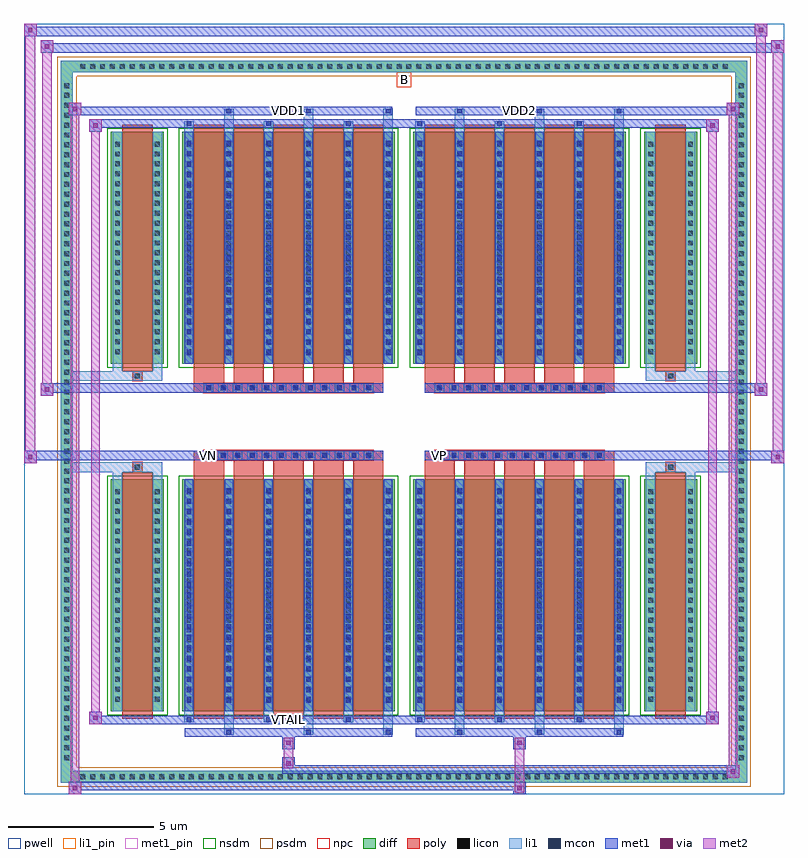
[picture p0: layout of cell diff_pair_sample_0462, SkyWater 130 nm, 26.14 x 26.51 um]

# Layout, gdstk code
import gdstk
lib = gdstk.Library(unit=1e-6, precision=5e-09)
def R(c, l, rs):  # rectangles x0, y0, x1, y1
    for r in rs: c.add(gdstk.rectangle(r[:2], r[2:], *l))
def A(c, l, x, y, w, h, nx, ny, dx, dy):  # array of equal rectangles
    R(c, l, [(x+i*dx, y+j*dy, x+i*dx+w, y+j*dy+h) for i in range(nx) for j in range(ny)])
def P(c, l, *ps):  # polygons
    for p in ps: c.add(gdstk.Polygon(p, *l))
pwell = (64, 44)
diff = (65, 20)
poly = (66, 20)
licon = (66, 44)
li1_pin = (67, 16)
li1 = (67, 20)
mcon = (67, 44)
met1_pin = (68, 16)
met1 = (68, 20)
via = (68, 44)
met2 = (69, 20)
nsdm = (93, 44)
psdm = (94, 20)
npc = (95, 20)

diff_pair_sample_0462 = lib.new_cell('diff_pair_sample_0462')
R(diff_pair_sample_0462, pwell, [(-13.07,-12.82,13.07,13.69), (-10.39,-11.01,-0.01,-0.795), (0.01,-11.01,10.39,-0.795), (-10.39,0.795,-0.01,11.01), (0.01,0.795,10.39,11.01)])
A(diff_pair_sample_0462, diff, -11.255, -12.42, 0.41, 0.41, 66, 2, 0.34, 24.43)
A(diff_pair_sample_0462, diff, -11.8, -11.765, 0.41, 0.41, 1, 69, 0, 0.34)
A(diff_pair_sample_0462, diff, 11.39, -11.765, 0.41, 0.41, 1, 69, 0, 0.34)
R(diff_pair_sample_0462, diff, [(-11.255,-12.42,11.255,-12.01), (-11.8,-11.765,-11.39,11.765), (11.39,-11.765,11.8,11.765), (-10.08,-9.965,-8.26,-1.985), (-7.62,-9.965,-0.32,-1.985), (0.32,-9.965,7.62,-1.985), (8.26,-9.965,10.08,-1.985), (-10.08,1.985,-8.26,9.965), (-7.62,1.985,-0.32,9.965), (0.32,1.985,7.62,9.965), (8.26,1.985,10.08,9.965), (-11.255,12.01,11.255,12.42)])
P(diff_pair_sample_0462, diff, [(11.8,12.42),(-11.8,12.42),(-11.8,-12.01),(-11.39,-12.01),(-11.39,12.01),(11.39,12.01),(11.39,-12.01),(-11.39,-12.01),(-11.8,-12.01),(-11.8,-12.42),(11.8,-12.42)])
A(diff_pair_sample_0462, poly, -7.23, -10.215, 1.04, 8.48, 5, 2, 1.37, 11.95)
A(diff_pair_sample_0462, poly, 0.71, -10.215, 1.04, 8.48, 5, 2, 1.37, 11.95)
A(diff_pair_sample_0462, poly, -7.23, -1.735, 1.04, 0.41, 5, 2, 1.37, 3.06)
A(diff_pair_sample_0462, poly, 0.71, -1.735, 1.04, 0.41, 5, 2, 1.37, 3.06)
A(diff_pair_sample_0462, poly, -6.885, -1.325, 0.33, 0.33, 12, 2, 0.5, 2.32)
A(diff_pair_sample_0462, poly, 1.055, -1.325, 0.33, 0.33, 12, 2, 0.5, 2.32)
R(diff_pair_sample_0462, poly, [(-9.69,-10.215,-8.65,-1.735), (8.65,-10.215,9.69,-1.735), (-9.335,-1.735,-9.005,-1.405), (-9.335,-1.735,-9.005,-1.405), (9.005,-1.735,9.335,-1.405), (9.005,-1.735,9.335,-1.405), (-7.23,-1.325,-0.71,-0.995), (0.71,-1.325,7.23,-0.995), (-7.23,0.995,-0.71,1.325), (0.71,0.995,7.23,1.325), (-9.335,1.405,-9.005,1.735), (-9.335,1.405,-9.005,1.735), (9.005,1.405,9.335,1.735), (9.005,1.405,9.335,1.735), (-9.69,1.735,-8.65,10.215), (8.65,1.735,9.69,10.215)])
A(diff_pair_sample_0462, licon, -11.135, -12.3, 0.17, 0.17, 66, 2, 0.34, 24.43)
A(diff_pair_sample_0462, licon, -11.68, -11.645, 0.17, 0.17, 1, 69, 0, 0.34)
A(diff_pair_sample_0462, licon, 11.51, -11.645, 0.17, 0.17, 1, 69, 0, 0.34)
A(diff_pair_sample_0462, licon, -9.94, -9.63, 0.17, 0.17, 1, 22, 0, 0.34)
A(diff_pair_sample_0462, licon, -8.57, -9.63, 0.17, 0.17, 1, 22, 0, 0.34)
A(diff_pair_sample_0462, licon, -7.48, -9.63, 0.17, 0.17, 6, 22, 1.37, 0.34)
A(diff_pair_sample_0462, licon, 0.46, -9.63, 0.17, 0.17, 6, 22, 1.37, 0.34)
A(diff_pair_sample_0462, licon, 8.4, -9.63, 0.17, 0.17, 1, 22, 0, 0.34)
A(diff_pair_sample_0462, licon, 9.77, -9.63, 0.17, 0.17, 1, 22, 0, 0.34)
A(diff_pair_sample_0462, licon, -6.805, -1.245, 0.17, 0.17, 12, 2, 0.5, 2.32)
A(diff_pair_sample_0462, licon, 1.135, -1.245, 0.17, 0.17, 12, 2, 0.5, 2.32)
A(diff_pair_sample_0462, licon, -9.94, 2.32, 0.17, 0.17, 1, 22, 0, 0.34)
A(diff_pair_sample_0462, licon, -8.57, 2.32, 0.17, 0.17, 1, 22, 0, 0.34)
A(diff_pair_sample_0462, licon, -7.48, 2.32, 0.17, 0.17, 6, 22, 1.37, 0.34)
A(diff_pair_sample_0462, licon, 0.46, 2.32, 0.17, 0.17, 6, 22, 1.37, 0.34)
A(diff_pair_sample_0462, licon, 8.4, 2.32, 0.17, 0.17, 1, 22, 0, 0.34)
A(diff_pair_sample_0462, licon, 9.77, 2.32, 0.17, 0.17, 1, 22, 0, 0.34)
R(diff_pair_sample_0462, licon, [(-9.255,-1.655,-9.085,-1.485), (9.085,-1.655,9.255,-1.485), (-9.255,1.485,-9.085,1.655), (9.085,1.485,9.255,1.655)])
R(diff_pair_sample_0462, li1_pin, [(-0.25,11.51,0.25,12.01)])
A(diff_pair_sample_0462, li1, -11.215, -12.38, 0.33, 0.33, 66, 2, 0.34, 24.43)
A(diff_pair_sample_0462, li1, -11.76, -11.725, 0.33, 0.33, 1, 69, 0, 0.34)
A(diff_pair_sample_0462, li1, 11.43, -11.725, 0.33, 0.33, 1, 69, 0, 0.34)
A(diff_pair_sample_0462, li1, -6.19, -10.77, 0.33, 0.805, 3, 2, 2.74, 20.735)
A(diff_pair_sample_0462, li1, -6.11, -10.77, 0.17, 0.17, 3, 2, 2.74, 21.37)
A(diff_pair_sample_0462, li1, 1.75, -10.77, 0.33, 0.805, 3, 2, 2.74, 20.735)
A(diff_pair_sample_0462, li1, 1.83, -10.77, 0.17, 0.17, 3, 2, 2.74, 21.37)
A(diff_pair_sample_0462, li1, -7.56, -10.34, 0.33, 0.375, 3, 2, 2.74, 20.305)
A(diff_pair_sample_0462, li1, -7.48, -10.34, 0.17, 0.17, 3, 2, 2.74, 20.51)
A(diff_pair_sample_0462, li1, 0.38, -10.34, 0.33, 0.375, 3, 2, 2.74, 20.305)
A(diff_pair_sample_0462, li1, 0.46, -10.34, 0.17, 0.17, 3, 2, 2.74, 20.51)
A(diff_pair_sample_0462, li1, -7.56, -9.965, 0.33, 7.98, 6, 2, 1.37, 11.95)
A(diff_pair_sample_0462, li1, 0.38, -9.965, 0.33, 7.98, 6, 2, 1.37, 11.95)
A(diff_pair_sample_0462, li1, -10.02, -9.71, 0.33, 0.33, 1, 22, 0, 0.34)
A(diff_pair_sample_0462, li1, -8.65, -9.71, 0.33, 0.33, 1, 22, 0, 0.34)
A(diff_pair_sample_0462, li1, -7.56, -9.71, 0.33, 0.33, 6, 22, 1.37, 0.34)
A(diff_pair_sample_0462, li1, 0.38, -9.71, 0.33, 0.33, 6, 22, 1.37, 0.34)
A(diff_pair_sample_0462, li1, 8.32, -9.71, 0.33, 0.33, 1, 22, 0, 0.34)
A(diff_pair_sample_0462, li1, 9.69, -9.71, 0.33, 0.33, 1, 22, 0, 0.34)
A(diff_pair_sample_0462, li1, -7.48, -9.66, 0.17, 0.17, 6, 21, 1.37, 0.36)
A(diff_pair_sample_0462, li1, -7.48, -9.66, 0.17, 7.37, 6, 2, 1.37, 11.95)
A(diff_pair_sample_0462, li1, 0.46, -9.66, 0.17, 0.17, 6, 21, 1.37, 0.36)
A(diff_pair_sample_0462, li1, 0.46, -9.66, 0.17, 7.37, 6, 2, 1.37, 11.95)
A(diff_pair_sample_0462, li1, -6.885, -1.325, 0.33, 0.33, 12, 2, 0.5, 2.32)
A(diff_pair_sample_0462, li1, 1.055, -1.325, 0.33, 0.33, 12, 2, 0.5, 2.32)
A(diff_pair_sample_0462, li1, -10.02, 2.24, 0.33, 0.33, 1, 22, 0, 0.34)
A(diff_pair_sample_0462, li1, -8.65, 2.24, 0.33, 0.33, 1, 22, 0, 0.34)
A(diff_pair_sample_0462, li1, -7.56, 2.24, 0.33, 0.33, 6, 22, 1.37, 0.34)
A(diff_pair_sample_0462, li1, 0.38, 2.24, 0.33, 0.33, 6, 22, 1.37, 0.34)
A(diff_pair_sample_0462, li1, 8.32, 2.24, 0.33, 0.33, 1, 22, 0, 0.34)
A(diff_pair_sample_0462, li1, 9.69, 2.24, 0.33, 0.33, 1, 22, 0, 0.34)
A(diff_pair_sample_0462, li1, -7.48, 2.29, 0.17, 0.17, 6, 21, 1.37, 0.36)
A(diff_pair_sample_0462, li1, 0.46, 2.29, 0.17, 0.17, 6, 21, 1.37, 0.36)
R(diff_pair_sample_0462, li1, [(-11.8,-12.42,-11.39,-12.01), (-11.8,-12.42,-11.39,-12.01), (-11.39,-12.42,11.39,-12.01), (11.39,-12.42,11.8,-12.01), (11.39,-12.42,11.8,-12.01), (-11.8,-12.01,-11.39,12.01), (11.39,-12.01,11.8,12.01), (-10.02,-9.965,-9.69,-1.985), (-8.65,-9.965,-8.32,-1.985), (8.32,-9.965,8.65,-1.985), (9.69,-9.965,10.02,-1.985), (-10.02,-1.985,-9.69,-1.405), (-8.65,-1.985,-8.32,-1.405), (8.32,-1.985,8.65,-1.405), (9.69,-1.985,10.02,-1.405), (-11.8,-1.735,-9.335,-1.405), (-10.02,-1.735,-9.335,-1.405), (-9.335,-1.735,-9.005,-1.405), (-9.005,-1.735,-8.32,-1.405), (8.32,-1.735,9.005,-1.405), (9.005,-1.735,9.335,-1.405), (9.005,-1.735,11.8,-1.405), (9.335,-1.735,10.02,-1.405), (-11.8,1.405,-9.335,1.735), (-10.02,1.405,-9.335,1.735), (-10.02,1.405,-9.69,1.985), (-9.335,1.405,-9.005,1.735), (-9.005,1.405,-8.32,1.735), (-8.65,1.405,-8.32,1.985), (8.32,1.405,9.005,1.735), (8.32,1.405,8.65,1.985), (9.005,1.405,9.335,1.735), (9.005,1.405,11.8,1.735), (9.335,1.405,10.02,1.735), (9.69,1.405,10.02,1.985), (-10.02,1.985,-9.69,9.965), (-8.65,1.985,-8.32,9.965), (8.32,1.985,8.65,9.965), (9.69,1.985,10.02,9.965), (-11.8,12.01,-11.39,12.42), (-11.8,12.01,-11.39,12.42), (-11.39,12.01,11.39,12.42), (11.39,12.01,11.8,12.42), (11.39,12.01,11.8,12.42)])
A(diff_pair_sample_0462, mcon, -6.11, -10.77, 0.17, 0.17, 3, 2, 2.74, 21.37)
A(diff_pair_sample_0462, mcon, 1.83, -10.77, 0.17, 0.17, 3, 2, 2.74, 21.37)
A(diff_pair_sample_0462, mcon, -7.48, -10.34, 0.17, 0.17, 3, 2, 2.74, 20.51)
A(diff_pair_sample_0462, mcon, 0.46, -10.34, 0.17, 0.17, 3, 2, 2.74, 20.51)
A(diff_pair_sample_0462, mcon, -7.48, -9.66, 0.17, 0.17, 6, 21, 1.37, 0.36)
A(diff_pair_sample_0462, mcon, 0.46, -9.66, 0.17, 0.17, 6, 21, 1.37, 0.36)
A(diff_pair_sample_0462, mcon, -6.805, -1.245, 0.17, 0.17, 12, 2, 0.5, 2.32)
A(diff_pair_sample_0462, mcon, 1.135, -1.245, 0.17, 0.17, 12, 2, 0.5, 2.32)
A(diff_pair_sample_0462, mcon, -7.48, 2.29, 0.17, 0.17, 6, 21, 1.37, 0.36)
A(diff_pair_sample_0462, mcon, 0.46, 2.29, 0.17, 0.17, 6, 21, 1.37, 0.36)
R(diff_pair_sample_0462, met1_pin, [(-4.105,-10.38,-3.835,-10.11), (-6.855,-1.285,-6.585,-1.015), (1.085,-1.285,1.355,-1.015), (-4.105,10.56,-3.835,10.83), (3.835,10.56,4.105,10.83)])
A(diff_pair_sample_0462, met1, -6.17, -10.83, 0.29, 0.29, 3, 2, 2.74, 21.37)
A(diff_pair_sample_0462, met1, 1.77, -10.83, 0.29, 0.29, 3, 2, 2.74, 21.37)
A(diff_pair_sample_0462, met1, -7.54, -10.4, 0.29, 0.29, 3, 2, 2.74, 20.51)
A(diff_pair_sample_0462, met1, 0.4, -10.4, 0.29, 0.29, 3, 2, 2.74, 20.51)
A(diff_pair_sample_0462, met1, -7.54, -9.965, 0.29, 7.98, 6, 2, 1.37, 11.95)
A(diff_pair_sample_0462, met1, 0.4, -9.965, 0.29, 7.98, 6, 2, 1.37, 11.95)
A(diff_pair_sample_0462, met1, -7.54, -9.72, 0.29, 0.29, 6, 21, 1.37, 0.36)
A(diff_pair_sample_0462, met1, 0.4, -9.72, 0.29, 0.29, 6, 21, 1.37, 0.36)
A(diff_pair_sample_0462, met1, -6.865, -1.305, 0.29, 0.29, 12, 2, 0.5, 2.32)
A(diff_pair_sample_0462, met1, 1.075, -1.305, 0.29, 0.29, 12, 2, 0.5, 2.32)
A(diff_pair_sample_0462, met1, -7.54, 2.23, 0.29, 0.29, 6, 21, 1.37, 0.36)
A(diff_pair_sample_0462, met1, 0.4, 2.23, 0.29, 0.29, 6, 21, 1.37, 0.36)
R(diff_pair_sample_0462, met1, [(-11.53,-12.82,-11.1,-12.39), (3.755,-12.82,4.185,-12.39), (-11.53,-12.68,4.185,-12.39), (11.1,-12.25,11.53,-11.82), (-4.185,-12.11,11.53,-11.82), (-4.185,-11.97,-3.755,-11.54), (-4.185,-11.26,-3.755,-10.83), (3.755,-11.26,4.185,-10.83), (-7.54,-10.83,-0.4,-10.54), (0.4,-10.83,7.54,-10.54), (-10.82,-10.4,-10.39,-9.97), (-10.82,-10.4,-7.54,-10.11), (-7.54,-10.4,-0.4,-10.11), (-0.4,-10.4,0.4,-10.11), (0.4,-10.4,7.54,-10.11), (7.54,-10.4,10.82,-10.11), (10.39,-10.4,10.82,-9.97), (-13.07,-1.425,-12.64,-0.995), (12.64,-1.425,13.07,-0.995), (-13.07,-1.325,-0.71,-0.995), (-7.23,-1.325,-0.71,-0.995), (0.71,-1.325,7.23,-0.995), (0.71,-1.325,13.07,-0.995), (-12.5,0.895,-12.07,1.325), (12.07,0.895,12.5,1.325), (-12.5,0.995,-7.23,1.325), (-7.23,0.995,-0.71,1.325), (0.71,0.995,7.23,1.325), (7.23,0.995,12.5,1.325), (-10.82,9.97,-10.39,10.4), (10.39,9.97,10.82,10.4), (-10.82,10.11,-7.54,10.4), (-7.54,10.11,-0.4,10.4), (-0.4,10.11,0.4,10.4), (0.4,10.11,7.54,10.4), (7.54,10.11,10.82,10.4), (-11.53,10.54,-11.1,10.97), (-11.53,10.54,-7.54,10.83), (-7.54,10.54,-0.4,10.83), (0.4,10.54,7.54,10.83), (7.54,10.54,11.53,10.83), (11.1,10.54,11.53,10.97), (-12.5,12.69,-12.07,13.12), (-12.5,12.69,-10.39,13.02), (-10.39,12.69,10.39,13.02), (10.39,12.69,13.07,13.02), (12.64,12.69,13.07,13.12), (-13.07,13.26,-12.64,13.69), (-13.07,13.26,-10.39,13.59), (-10.39,13.26,10.39,13.59), (10.39,13.26,12.5,13.59), (12.07,13.26,12.5,13.69)])
R(diff_pair_sample_0462, via, [(-11.39,-12.68,-11.24,-12.53), (3.895,-12.68,4.045,-12.53), (11.24,-12.11,11.39,-11.96), (-4.045,-11.83,-3.895,-11.68), (-4.045,-11.12,-3.895,-10.97), (3.895,-11.12,4.045,-10.97), (-10.68,-10.26,-10.53,-10.11), (10.53,-10.26,10.68,-10.11), (-12.93,-1.285,-12.78,-1.135), (12.78,-1.285,12.93,-1.135), (-12.36,1.035,-12.21,1.185), (12.21,1.035,12.36,1.185), (-10.68,10.11,-10.53,10.26), (10.53,10.11,10.68,10.26), (-11.39,10.68,-11.24,10.83), (11.24,10.68,11.39,10.83), (-12.36,12.83,-12.21,12.98), (12.78,12.83,12.93,12.98), (-12.93,13.4,-12.78,13.55), (12.21,13.4,12.36,13.55)])
R(diff_pair_sample_0462, met2, [(-11.53,-12.82,-11.1,-12.39), (-11.46,-12.82,-11.17,10.97), (-11.17,-12.82,-11.1,-12.39), (-11.48,-12.77,-11.15,-12.44), (3.805,-12.77,4.135,-12.44), (3.805,-12.44,4.135,-11.21), (11.1,-12.25,11.53,-11.82), (11.17,-12.25,11.46,10.97), (11.46,-12.25,11.53,-11.82), (11.15,-12.2,11.48,-11.87), (-4.135,-11.92,-3.805,-11.59), (-4.135,-11.59,-3.805,-11.21), (-4.135,-11.21,-3.805,-10.88), (3.805,-11.21,4.135,-10.88), (-10.82,-10.4,-10.39,-9.97), (-10.75,-10.4,-10.46,10.4), (-10.46,-10.4,-10.39,-9.97), (10.39,-10.4,10.82,-9.97), (10.46,-10.4,10.75,10.4), (10.75,-10.4,10.82,-9.97), (-10.77,-10.35,-10.44,-10.02), (10.44,-10.35,10.77,-10.02), (-13.07,-1.425,-12.64,-0.995), (-13.02,-1.425,-12.69,13.69), (-12.69,-1.425,-12.64,-0.995), (12.64,-1.425,13.07,-0.995), (12.69,-1.425,13.02,13.12), (13.02,-1.425,13.07,-0.995), (-13.02,-1.375,-12.69,-1.045), (12.69,-1.375,13.02,-1.045), (-12.5,0.895,-12.07,1.325), (-12.45,0.895,-12.12,13.12), (-12.12,0.895,-12.07,1.325), (12.07,0.895,12.5,1.325), (12.12,0.895,12.45,13.69), (12.45,0.895,12.5,1.325), (-12.45,0.945,-12.12,1.275), (12.12,0.945,12.45,1.275), (-10.82,9.97,-10.39,10.4), (-10.46,9.97,-10.39,10.4), (10.39,9.97,10.82,10.4), (10.75,9.97,10.82,10.4), (-10.77,10.02,-10.44,10.35), (10.44,10.02,10.77,10.35), (-11.53,10.54,-11.1,10.97), (-11.17,10.54,-11.1,10.97), (11.1,10.54,11.53,10.97), (11.46,10.54,11.53,10.97), (-11.48,10.59,-11.15,10.92), (11.15,10.59,11.48,10.92), (-12.5,12.69,-12.07,13.12), (-12.12,12.69,-12.07,13.12), (12.64,12.69,13.07,13.12), (13.02,12.69,13.07,13.12), (-12.45,12.74,-12.12,13.07), (12.69,12.74,13.02,13.07), (-13.07,13.26,-12.64,13.69), (-12.69,13.26,-12.64,13.69), (12.07,13.26,12.5,13.69), (12.45,13.26,12.5,13.69), (-13.02,13.31,-12.69,13.64), (12.12,13.31,12.45,13.64)])
R(diff_pair_sample_0462, nsdm, [(-10.21,-10.095,-8.13,-1.855), (-7.75,-10.095,-0.19,-1.855), (0.19,-10.095,7.75,-1.855), (8.13,-10.095,10.21,-1.855), (-10.21,1.855,-8.13,10.095), (-7.75,1.855,-0.19,10.095), (0.19,1.855,7.75,10.095), (8.13,1.855,10.21,10.095)])
P(diff_pair_sample_0462, psdm, [(11.93,12.55),(-11.93,12.55),(-11.93,-11.88),(-11.26,-11.88),(-11.26,11.88),(11.26,11.88),(11.26,-11.88),(-11.26,-11.88),(-11.93,-11.88),(-11.93,-12.55),(11.93,-12.55)])
A(diff_pair_sample_0462, npc, -6.905, -1.345, 0.37, 0.37, 12, 2, 0.5, 2.32)
A(diff_pair_sample_0462, npc, 1.035, -1.345, 0.37, 0.37, 12, 2, 0.5, 2.32)
R(diff_pair_sample_0462, npc, [(-9.355,-1.755,-8.985,-1.385), (8.985,-1.755,9.355,-1.385), (-6.905,-1.345,-6.035,-0.975), (-6.905,-1.345,-6.035,-0.975), (-6.405,-1.345,-5.535,-0.975), (-6.405,-1.345,-5.535,-0.975), (-5.905,-1.345,-5.035,-0.975), (-5.905,-1.345,-5.035,-0.975), (-5.405,-1.345,-4.535,-0.975), (-5.405,-1.345,-4.535,-0.975), (-4.905,-1.345,-4.035,-0.975), (-4.905,-1.345,-4.035,-0.975), (-4.405,-1.345,-3.535,-0.975), (-4.405,-1.345,-3.535,-0.975), (-3.905,-1.345,-3.035,-0.975), (-3.905,-1.345,-3.035,-0.975), (-3.405,-1.345,-2.535,-0.975), (-3.405,-1.345,-2.535,-0.975), (-2.905,-1.345,-2.035,-0.975), (-2.905,-1.345,-2.035,-0.975), (-2.405,-1.345,-1.535,-0.975), (-2.405,-1.345,-1.535,-0.975), (-1.905,-1.345,-1.035,-0.975), (-1.905,-1.345,-1.035,-0.975), (1.035,-1.345,1.905,-0.975), (1.035,-1.345,1.905,-0.975), (1.535,-1.345,2.405,-0.975), (1.535,-1.345,2.405,-0.975), (2.035,-1.345,2.905,-0.975), (2.035,-1.345,2.905,-0.975), (2.535,-1.345,3.405,-0.975), (2.535,-1.345,3.405,-0.975), (3.035,-1.345,3.905,-0.975), (3.035,-1.345,3.905,-0.975), (3.535,-1.345,4.405,-0.975), (3.535,-1.345,4.405,-0.975), (4.035,-1.345,4.905,-0.975), (4.035,-1.345,4.905,-0.975), (4.535,-1.345,5.405,-0.975), (4.535,-1.345,5.405,-0.975), (5.035,-1.345,5.905,-0.975), (5.035,-1.345,5.905,-0.975), (5.535,-1.345,6.405,-0.975), (5.535,-1.345,6.405,-0.975), (6.035,-1.345,6.905,-0.975), (6.035,-1.345,6.905,-0.975), (-6.905,0.975,-6.035,1.345), (-6.905,0.975,-6.035,1.345), (-6.405,0.975,-5.535,1.345), (-6.405,0.975,-5.535,1.345), (-5.905,0.975,-5.035,1.345), (-5.905,0.975,-5.035,1.345), (-5.405,0.975,-4.535,1.345), (-5.405,0.975,-4.535,1.345), (-4.905,0.975,-4.035,1.345), (-4.905,0.975,-4.035,1.345), (-4.405,0.975,-3.535,1.345), (-4.405,0.975,-3.535,1.345), (-3.905,0.975,-3.035,1.345), (-3.905,0.975,-3.035,1.345), (-3.405,0.975,-2.535,1.345), (-3.405,0.975,-2.535,1.345), (-2.905,0.975,-2.035,1.345), (-2.905,0.975,-2.035,1.345), (-2.405,0.975,-1.535,1.345), (-2.405,0.975,-1.535,1.345), (-1.905,0.975,-1.035,1.345), (-1.905,0.975,-1.035,1.345), (1.035,0.975,1.905,1.345), (1.035,0.975,1.905,1.345), (1.535,0.975,2.405,1.345), (1.535,0.975,2.405,1.345), (2.035,0.975,2.905,1.345), (2.035,0.975,2.905,1.345), (2.535,0.975,3.405,1.345), (2.535,0.975,3.405,1.345), (3.035,0.975,3.905,1.345), (3.035,0.975,3.905,1.345), (3.535,0.975,4.405,1.345), (3.535,0.975,4.405,1.345), (4.035,0.975,4.905,1.345), (4.035,0.975,4.905,1.345), (4.535,0.975,5.405,1.345), (4.535,0.975,5.405,1.345), (5.035,0.975,5.905,1.345), (5.035,0.975,5.905,1.345), (5.535,0.975,6.405,1.345), (5.535,0.975,6.405,1.345), (6.035,0.975,6.905,1.345), (6.035,0.975,6.905,1.345), (-9.355,1.385,-8.985,1.755), (8.985,1.385,9.355,1.755)])
diff_pair_sample_0462.add(gdstk.Label('VTAIL', (-3.97,-10.245), layer=68, texttype=5))
diff_pair_sample_0462.add(gdstk.Label('VN', (-6.72,-1.15), layer=68, texttype=5))
diff_pair_sample_0462.add(gdstk.Label('VP', (1.22,-1.15), layer=68, texttype=5))
diff_pair_sample_0462.add(gdstk.Label('B', (0,11.76), layer=67, texttype=5))
diff_pair_sample_0462.add(gdstk.Label('VDD2', (3.97,10.695), layer=68, texttype=5))
diff_pair_sample_0462.add(gdstk.Label('VDD1', (-3.97,10.695), layer=68, texttype=5))

lib.write_gds('diff_pair_sample_0462.gds')
